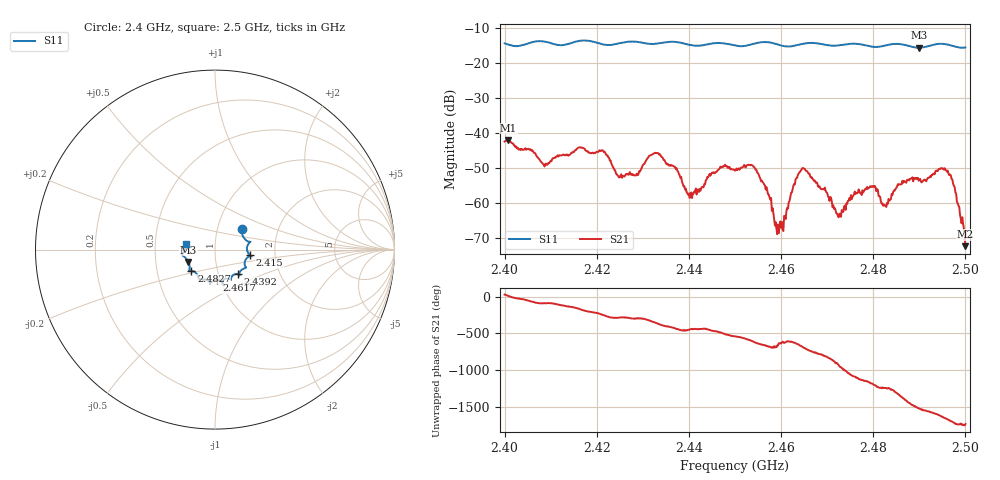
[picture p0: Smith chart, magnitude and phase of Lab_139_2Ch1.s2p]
# Hz S RI R 50
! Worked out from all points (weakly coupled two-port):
!   601 points, 2.4 GHz to 2.5 GHz, reference 50 ohm
!   highest |S21| = -42.00 dB at 2.4008 GHz (marker M1); lowest = -72.2 dB at 2.5 GHz (marker M2)
!   lowest |S11| = -15.7 dB at 2.49 GHz (marker M3), VSWR 1.39, Z = 36.8 - j5.23 ohm
!   |S11| at or under -10 dB: start of sweep to end of sweep
!   S12 and S22 are empty: the file has one direction only
!   S11 on the Smith chart (normalised r, x): 2.4 GHz: 1.31, +0.31; 2.415 GHz: 1.48, -0.10; 2.4392 GHz: 1.24, -0.35; 2.4617 GHz: 0.96, -0.34; 2.4827 GHz: 0.75, -0.18; 2.5 GHz: 0.72, +0.05
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2.4e9  0.1507 0.1145  0.00657 0.00377  0 0  0 0
2.400833e9  0.15 0.1026  0.00779 0.00153  0 0  0 0
2.408833e9  0.1952 0.0417  4.19e-05 -0.00362  0 0  0 0
2.415e9  0.1935 -0.0312  -0.00432 -0.00312  0 0  0 0
2.416667e9  0.2035 -0.038  -0.00615 -0.00046  0 0  0 0
2.4215e9  0.1747 -0.0506  -0.00166 0.00511  0 0  0 0
2.425167e9  0.1677 -0.0919  0.000477 0.00231  0 0  0 0
2.433333e9  0.1359 -0.1309  0.00511 -0.000849  0 0  0 0
2.439167e9  0.1274 -0.1358  -0.000111 -0.00157  0 0  0 0
2.45e9  0.0715 -0.161  -0.00291 -5.03e-05  0 0  0 0
2.454167e9  0.0398 -0.1828  -0.00064 0.00322  0 0  0 0
2.459167e9  0.0376 -0.1791  0.000203 0.000301  0 0  0 0
2.461667e9  0.00863 -0.1701  -0.000366 0.000965  0 0  0 0
2.464333e9  -0.0221 -0.1827  0.00187 0.00228  0 0  0 0
2.466667e9  -0.027 -0.19  0.00214 -0.000949  0 0  0 0
2.4725e9  -0.0659 -0.1641  -0.000553 0.000302  0 0  0 0
2.479833e9  -0.1032 -0.1339  -0.000426 -0.00166  0 0  0 0
2.482667e9  -0.1316 -0.1174  -0.000872 -0.000309  0 0  0 0
2.483333e9  -0.1375 -0.1169  -0.00109 -0.000375  0 0  0 0
2.49e9  -0.1481 -0.0692  0.000284 -0.00215  0 0  0 0
2.496333e9  -0.1793 -0.0213  -0.00149 0.00217  0 0  0 0
2.5e9  -0.1622 0.0312  9.42e-05 0.000226  0 0  0 0
